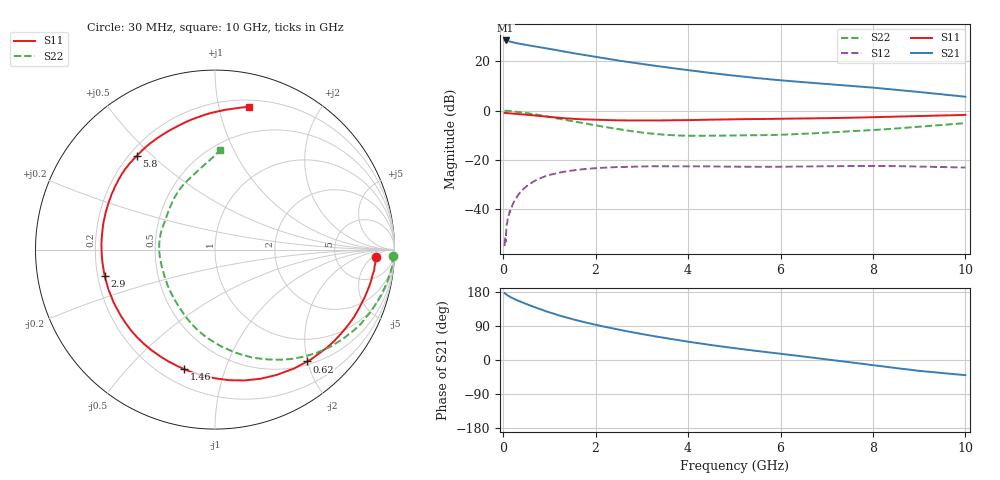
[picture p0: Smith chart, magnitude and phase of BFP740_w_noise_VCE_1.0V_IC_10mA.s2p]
! Infineon Technologies  Discrete & RF Semiconductors
! BFP740
! VCE =  1.0 V,  IC =  10 mA
! Common Emitter S-Parameters:  Jan 2016
# GHz  S  MA  R  50
!  f  S11  S21  S12  S22
! GHz  MAG  ANG  MAG  ANG  MAG  ANG  MAG  ANG
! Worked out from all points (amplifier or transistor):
!   229 points, 30 MHz to 10 GHz, reference 50 ohm
!   highest |S21| = 28.4 dB at 50 MHz (marker M1)
!   |S21| within 3 dB of that: start of sweep to 882.7 MHz
!   unconditionally stable (mu >= 1): 6.756 GHz to end of sweep
!   at 280 MHz: K = 0.13, MSG = 31.4 dB, |S12| = -35.4 dB
!   at 1.78 GHz: K = 0.34, MSG = 23.0 dB, |S12| = -23.6 dB
!   at 10 GHz: K = 1.16, MAG = 11.9 dB, |S12| = -23.0 dB
!   lowest NFmin = 0.51 dB at 450 MHz
!   S11 on the Smith chart (normalised r, x): 30 MHz: 16, -7; 620 MHz: 0.56, -1.99; 1.46 GHz: 0.29, -0.73; 2.9 GHz: 0.23, -0.11; 5.8 GHz: 0.23, +0.45; 10 GHz: 0.26, +1.24
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0.03  0.8979 -2.7  26.3 176.6  0.0018 104.1  0.9921 -1.9
0.05  0.8966 -4.6  26.36 174.9  0.0022 84.3  0.9906 -3.4
0.08  0.8948 -7.4  26.04 171.8  0.0052 95.0  0.9912 -5.3
0.12  0.8872 -10.9  25.41 168.5  0.0079 88.8  0.9836 -7.9
0.24  0.8686 -21.0  23.77 160.9  0.0147 79.0  0.9597 -15.2
0.4  0.8439 -33.8  22.27 152.4  0.0239 71.1  0.9213 -24.4
0.62  0.8078 -50.5  20.48 142.1  0.0349 61.6  0.8622 -36.1
0.8  0.7779 -63.9  19.27 133.9  0.0426 54.7  0.8084 -45.2
1  0.7473 -77.3  17.82 125.7  0.0499 47.6  0.7465 -54.6
1.22  0.7141 -91.1  16.34 117.2  0.0557 40.9  0.6806 -64.1
1.46  0.6873 -104.6  14.87 109.1  0.0606 34.9  0.6185 -73.4
1.7  0.6682 -117.4  13.62 101.5  0.0647 29.7  0.5622 -82.3
2.22  0.6438 -141.3  11.32 87.0  0.0701 19.9  0.4632 -101.1
2.6  0.6342 -156.2  9.976 77.6  0.0724 14.1  0.4059 -114.1
2.9  0.6322 -166.6  9.076 70.8  0.0738 10.2  0.3695 -124.7
3.4  0.6334 177.2  7.821 60.1  0.0748 4.2  0.3305 -143.2
4.3  0.6498 154.0  6.087 42.9  0.0744 -3.9  0.3101 -174.3
5.1  0.6698 139.3  4.983 29.7  0.0732 -8.8  0.3145 165.6
5.8  0.6801 129.8  4.276 19.3  0.0727 -12.1  0.3205 151.5
6.8  0.6993 117.4  3.573 4.8  0.0745 -16.9  0.35 134.1
8.4  0.754 94.1  2.704 -19.8  0.0754 -26.5  0.4277 107.6
10  0.819 76.5  1.912 -39.9  0.0704 -33.6  0.5568 87.1
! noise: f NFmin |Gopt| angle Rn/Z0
0.45  0.51  0.22  7  0.16
0.9  0.52  0.22  13  0.16
1.5  0.54  0.21  22  0.15
1.9  0.57  0.21  40  0.15
2.4  0.6  0.2  46  0.14
3.5  0.7  0.18  59  0.13
5.5  0.87  0.17  198  0.12
10  1.35  0.51  -74  0.16
